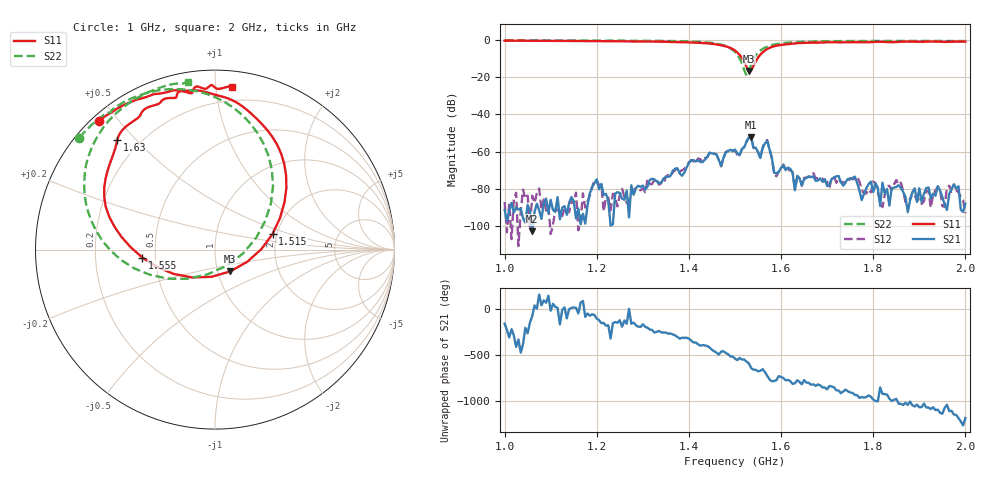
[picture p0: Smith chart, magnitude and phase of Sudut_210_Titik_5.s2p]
# Hz S RI R 50
! CMT, C1220, 16058040, 17.2.0/1
! Date: 14/08/2018 11:49:26
! Data: Format (Calibration Info)
! Freq  S11: Re/Im (F2)  S21: Re/Im (F2)  S12: Re/Im (F2)  S22: Re/Im (F2)
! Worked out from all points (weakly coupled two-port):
!   201 points, 1 GHz to 2 GHz, reference 50 ohm
!   highest |S21| = -52.09 dB at 1.535 GHz (marker M1); lowest = -103.0 dB at 1.06 GHz (marker M2)
!   lowest |S11| = -16.6 dB at 1.53 GHz (marker M3), VSWR 1.35, Z = 57.4 - j14.2 ohm
!   |S11| at or under -10 dB: 1.516 GHz to 1.549 GHz (32.56 MHz wide, 2.13 % of centre)
!   |S22| runs from -19.1 to -0.2 dB; largest |S21 - S12| = 0.00018
!   S11 on the Smith chart (normalised r, x): 1 GHz: 0.02, +0.44; 1.515 GHz: 1.90, +0.37; 1.555 GHz: 0.42, -0.04; 1.63 GHz: 0.12, +0.44; 2 GHz: 0.11, +1.11
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1e9  -0.6483 0.7149  -2.55e-05 -8.62e-06  -4.03e-05 -1.72e-05  -0.7552 0.6242
1.06e9  -0.5853 0.7593  1.37e-06 -6.96e-06  3.88e-06 6.51e-05  -0.7138 0.6691
1.17e9  -0.4693 0.8221  1.33e-06 2.13e-05  2.88e-05 -6.97e-05  -0.6183 0.7507
1.335e9  -0.206 0.8861  -6.93e-05 0.000123  3.61e-05 0.000123  -0.401 0.8661
1.45e9  0.1812 0.7758  7.79e-05 -0.000893  2.57e-05 -0.000951  0.0222 0.8387
1.47e9  0.29 0.6671  -0.000101 -0.000409  -0.000125 -0.000379  0.162 0.7398
1.5e9  0.3977 0.3432  -0.00114 1.89e-05  -0.00107 3.74e-05  0.3234 0.3562
1.515e9  0.3208 0.087  -0.00116 0.000214  -0.00115 0.000177  0.2291 0.0651
1.53e9  0.0854 -0.1212  -0.00144 0.00188  -0.00142 0.0019  -0.0428 -0.1383
1.535e9  -0.0188 -0.1516  0.000573 0.00242  0.000561 0.00238  -0.1528 -0.1624
1.555e9  -0.4046 -0.0443  0.000463 0.000498  0.000443 0.000528  -0.5221 -0.0586
1.57e9  -0.5613 0.1295  0.00189 -0.000308  0.00202 -0.000322  -0.662 0.104
1.585e9  -0.6173 0.2947  0.000117 -0.000243  6.1e-05 -0.000251  -0.7183 0.2546
1.62e9  -0.5552 0.5658  0.000141 -0.000314  8.61e-05 -0.000302  -0.7124 0.495
1.63e9  -0.5449 0.6096  1.36e-06 -9.13e-05  5.28e-05 -8.9e-05  -0.697 0.5414
1.635e9  -0.5384 0.6302  0.000126 -0.000186  6.76e-05 -0.000181  -0.6887 0.5624
1.645e9  -0.515 0.6673  -2.07e-05 -0.000123  -9.13e-06 -0.000119  -0.6718 0.5994
1.67e9  -0.4337 0.7304  -3.91e-05 -0.000211  -8e-05 -0.000249  -0.6278 0.6719
1.705e9  -0.379 0.7902  -6.13e-05 -0.000114  -4.5e-05 -0.0001  -0.569 0.7417
1.715e9  -0.3483 0.8015  -0.000137 -0.000148  -0.000186 -9.26e-05  -0.5523 0.758
1.835e9  -0.139 0.871  -8.43e-06 3.42e-05  -2.14e-05 0.000119  -0.3772 0.8744
2e9  0.0965 0.9035  -1.2e-05 -3.8e-05  -1.42e-05 -1.68e-05  -0.1522 0.9341
